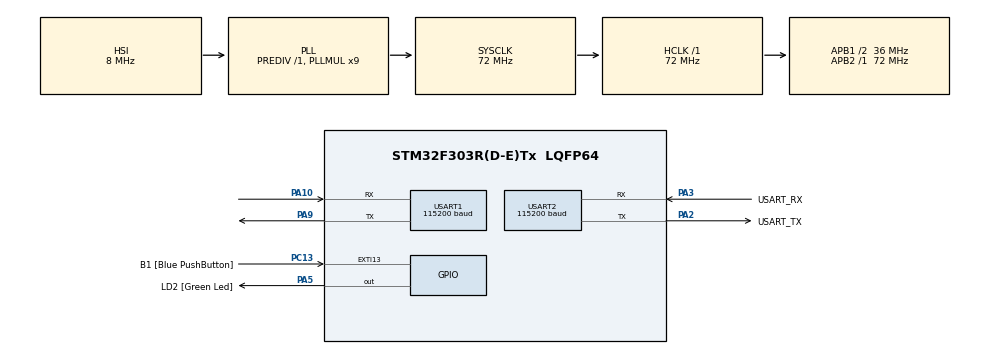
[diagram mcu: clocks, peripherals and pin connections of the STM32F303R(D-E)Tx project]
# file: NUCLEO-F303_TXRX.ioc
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Mcu.Family=STM32F3
Mcu.Name=STM32F303R(D-E)Tx
Mcu.Package=LQFP64
NVIC.PriorityGroup=NVIC_PRIORITYGROUP_0
NVIC.USART1_IRQn=true\:0\:0\:false\:false\:true\:true\:true\:true
PA10.Mode=Asynchronous
PA10.Signal=USART1_RX
PA13.GPIO_Label=TMS
PA13.Mode=Serial_Wire
PA13.Signal=SYS_JTMS-SWDIO
PA14.GPIO_Label=TCK
PA14.Mode=Serial_Wire
PA14.Signal=SYS_JTCK-SWCLK
PA2.GPIO_Label=USART_TX
PA2.GPIO_Mode=GPIO_MODE_AF_PP
PA2.GPIO_PuPd=GPIO_NOPULL
PA2.GPIO_Speed=GPIO_SPEED_FREQ_LOW
PA2.Mode=Asynchronous
PA2.Signal=USART2_TX
PA3.GPIO_Label=USART_RX
PA3.GPIO_Mode=GPIO_MODE_AF_PP
PA3.GPIO_PuPd=GPIO_NOPULL
PA3.GPIO_Speed=GPIO_SPEED_FREQ_LOW
PA3.Mode=Asynchronous
PA3.Signal=USART2_RX
PA5.GPIO_Label=LD2 [Green Led]
PA5.GPIO_Mode=GPIO_MODE_OUTPUT_PP
PA5.GPIO_PuPd=GPIO_NOPULL
PA5.GPIO_Speed=GPIO_SPEED_FREQ_LOW
PA5.Signal=GPIO_Output
PA9.Mode=Asynchronous
PA9.Signal=USART1_TX
PB3.GPIO_Label=SWO
PB3.Signal=SYS_JTDO-TRACESWO
PC13.GPIO_Label=B1 [Blue PushButton]
PC13.GPIO_ModeDefaultEXTI=GPIO_MODE_IT_FALLING
PC13.Signal=GPXTI13
PC14-OSC32_IN.Mode=LSE-External-Oscillator
PC14-OSC32_IN.Signal=RCC_OSC32_IN
PC15-OSC32_OUT.Mode=LSE-External-Oscillator
PC15-OSC32_OUT.Signal=RCC_OSC32_OUT
PF0-OSC_IN.Mode=HSE-External-Clock-Source
PF0-OSC_IN.Signal=RCC_OSC_IN
PF1-OSC_OUT.Signal=RCC_OSC_OUT
ProjectManager.HeapSize=0x200
ProjectManager.StackSize=0x400
ProjectManager.TargetToolchain=CMake
RCC.AHBFreq_Value=72000000
RCC.APB1CLKDivider=RCC_HCLK_DIV2
RCC.APB1Freq_Value=36000000
RCC.APB1TimFreq_Value=72000000
RCC.APB2Freq_Value=72000000
RCC.APB2TimFreq_Value=72000000
RCC.CortexFreq_Value=72000000
RCC.HCLKFreq_Value=72000000
RCC.HSE_VALUE=8000000
RCC.HSI_VALUE=8000000
RCC.PLLM=8
RCC.PLLMUL=RCC_PLL_MUL9
RCC.PLLN=336
RCC.PLLP=RCC_PLLP_DIV4
RCC.PLLQ=7
RCC.RCC_PLLsource_Clock_Source_FROM_HSE=RCC_HSE_PREDIV_DIV2
RCC.SYSCLKFreq_VALUE=72000000
RCC.SYSCLKSourceVirtual=RCC_SYSCLKSOURCE_PLLCLK
RCC.USBFreq_Value=72000000
USART1.BaudRate=115200
USART1.VirtualMode-Asynchronous=VM_ASYNC
USART2.BaudRate=115200
USART2.VirtualMode-Asynchronous=VM_ASYNC
board=NUCLEO-F303RE

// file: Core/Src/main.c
/* USER CODE BEGIN Header */
/**
  ******************************************************************************
  * @file           : main.c
  * @brief          : Main program body
  ******************************************************************************
  * @attention
  *
  * Copyright (c) 2026 STMicroelectronics.
  * All rights reserved.
  *
  * This software is licensed under terms that can be found in the LICENSE file
  * in the root directory of this software component.
  * If no LICENSE file comes with this software, it is provided AS-IS.
  *
  ******************************************************************************
  */
/* USER CODE END Header */
#include "main.h"

/* USER CODE BEGIN Includes */
#include <string.h>
#include <stdio.h>
/* USER CODE END Includes */

/* USER CODE BEGIN PD */
#define RX_BUFFER_SIZE 128
/* USER CODE END PD */

UART_HandleTypeDef huart1;
UART_HandleTypeDef huart2;

/* USER CODE BEGIN PV */
char rx_buffer[RX_BUFFER_SIZE]; // I accumulate the characters for reception here
uint8_t rx_index = 0; // I am goin gto receive a byte per interrupt
uint8_t rx_data;
volatile _Bool msg_ready = 0;
volatile _Bool tx_busy = 0;
/* USER CODE END PV */

void SystemClock_Config(void);
static void MX_GPIO_Init(void);
static void MX_USART1_UART_Init(void);
static void MX_USART2_UART_Init(void);
/* USER CODE BEGIN PFP */
void UART_Communication(void);
/* USER CODE END PFP */

int main(void)
{

  /* MCU Configuration--------------------------------------------------------*/

  /* Reset of all peripherals, Initializes the Flash interface and the Systick. */
  HAL_Init();

  /* Configure the system clock */
  SystemClock_Config();

  /* Initialize all configured peripherals */
  MX_GPIO_Init();
  MX_USART1_UART_Init();
  MX_USART2_UART_Init();
  /* USER CODE BEGIN 2 */
  HAL_UART_Receive_IT(&huart1, &rx_data, 1);
  /* USER CODE END 2 */

  /* Infinite loop */
  /* USER CODE BEGIN WHILE */
  while (1)
  {
    UART_Communication();
    /* USER CODE END WHILE */

  }
}

void SystemClock_Config(void)
{
  RCC_OscInitTypeDef RCC_OscInitStruct = {0};
  RCC_ClkInitTypeDef RCC_ClkInitStruct = {0};
  RCC_PeriphCLKInitTypeDef PeriphClkInit = {0};

  /** Initializes the RCC Oscillators according to the specified parameters
  * in the RCC_OscInitTypeDef structure.
  */
  RCC_OscInitStruct.OscillatorType = RCC_OSCILLATORTYPE_HSI;
  RCC_OscInitStruct.HSIState = RCC_HSI_ON;
  RCC_OscInitStruct.HSICalibrationValue = RCC_HSICALIBRATION_DEFAULT;
  RCC_OscInitStruct.PLL.PLLState = RCC_PLL_ON;
  RCC_OscInitStruct.PLL.PLLSource = RCC_PLLSOURCE_HSI;
  RCC_OscInitStruct.PLL.PLLMUL = RCC_PLL_MUL9;
  RCC_OscInitStruct.PLL.PREDIV = RCC_PREDIV_DIV1;
  if (HAL_RCC_OscConfig(&RCC_OscInitStruct) != HAL_OK)
  {
    Error_Handler();
  }

  /** Initializes the CPU, AHB and APB buses clocks
  */
  RCC_ClkInitStruct.ClockType = RCC_CLOCKTYPE_HCLK|RCC_CLOCKTYPE_SYSCLK
                              |RCC_CLOCKTYPE_PCLK1|RCC_CLOCKTYPE_PCLK2;
  RCC_ClkInitStruct.SYSCLKSource = RCC_SYSCLKSOURCE_PLLCLK;
  RCC_ClkInitStruct.AHBCLKDivider = RCC_SYSCLK_DIV1;
  RCC_ClkInitStruct.APB1CLKDivider = RCC_HCLK_DIV2;
  RCC_ClkInitStruct.APB2CLKDivider = RCC_HCLK_DIV1;

  if (HAL_RCC_ClockConfig(&RCC_ClkInitStruct, FLASH_LATENCY_2) != HAL_OK)
  {
    Error_Handler();
  }
  PeriphClkInit.PeriphClockSelection = RCC_PERIPHCLK_USART1|RCC_PERIPHCLK_USART2;
  PeriphClkInit.Usart1ClockSelection = RCC_USART1CLKSOURCE_PCLK2;
  PeriphClkInit.Usart2ClockSelection = RCC_USART2CLKSOURCE_PCLK1;
  if (HAL_RCCEx_PeriphCLKConfig(&PeriphClkInit) != HAL_OK)
  {
    Error_Handler();
  }
}

static void MX_USART1_UART_Init(void)
{

  huart1.Instance = USART1;
  huart1.Init.BaudRate = 115200;
  huart1.Init.WordLength = UART_WORDLENGTH_8B;
  huart1.Init.StopBits = UART_STOPBITS_1;
  huart1.Init.Parity = UART_PARITY_NONE;
  huart1.Init.Mode = UART_MODE_TX_RX;
  huart1.Init.HwFlowCtl = UART_HWCONTROL_NONE;
  huart1.Init.OverSampling = UART_OVERSAMPLING_16;
  huart1.Init.OneBitSampling = UART_ONE_BIT_SAMPLE_DISABLE;
  huart1.AdvancedInit.AdvFeatureInit = UART_ADVFEATURE_NO_INIT;
  if (HAL_UART_Init(&huart1) != HAL_OK)
  {
    Error_Handler();
  }

}

static void MX_USART2_UART_Init(void)
{

  huart2.Instance = USART2;
  huart2.Init.BaudRate = 115200;
  huart2.Init.WordLength = UART_WORDLENGTH_8B;
  huart2.Init.StopBits = UART_STOPBITS_1;
  huart2.Init.Parity = UART_PARITY_NONE;
  huart2.Init.Mode = UART_MODE_TX_RX;
  huart2.Init.HwFlowCtl = UART_HWCONTROL_NONE;
  huart2.Init.OverSampling = UART_OVERSAMPLING_16;
  huart2.Init.OneBitSampling = UART_ONE_BIT_SAMPLE_DISABLE;
  huart2.AdvancedInit.AdvFeatureInit = UART_ADVFEATURE_NO_INIT;
  if (HAL_UART_Init(&huart2) != HAL_OK)
  {
    Error_Handler();
  }

}

static void MX_GPIO_Init(void)
{
  GPIO_InitTypeDef GPIO_InitStruct = {0};

  /* GPIO Ports Clock Enable */
  __HAL_RCC_GPIOC_CLK_ENABLE();
  __HAL_RCC_GPIOF_CLK_ENABLE();
  __HAL_RCC_GPIOA_CLK_ENABLE();
  __HAL_RCC_GPIOB_CLK_ENABLE();

  /*Configure GPIO pin Output Level */
  HAL_GPIO_WritePin(LD2_GPIO_Port, LD2_Pin, GPIO_PIN_RESET);

  /*Configure GPIO pin : B1_Pin */
  GPIO_InitStruct.Pin = B1_Pin;
  GPIO_InitStruct.Mode = GPIO_MODE_IT_FALLING;
  GPIO_InitStruct.Pull = GPIO_NOPULL;
  HAL_GPIO_Init(B1_GPIO_Port, &GPIO_InitStruct);

  /*Configure GPIO pin : LD2_Pin */
  GPIO_InitStruct.Pin = LD2_Pin;
  GPIO_InitStruct.Mode = GPIO_MODE_OUTPUT_PP;
  GPIO_InitStruct.Pull = GPIO_NOPULL;
  GPIO_InitStruct.Speed = GPIO_SPEED_FREQ_LOW;
  HAL_GPIO_Init(LD2_GPIO_Port, &GPIO_InitStruct);

}

/* USER CODE BEGIN 4 */
void UART_Communication(void)
{
  if (msg_ready && !tx_busy)
  {
    char console_buffer[256];

    snprintf(console_buffer, sizeof(console_buffer), "Received: \"%s\"\r\n", rx_buffer);
    HAL_UART_Transmit(&huart2, (uint8_t*)console_buffer, strlen(console_buffer), HAL_MAX_DELAY);

    snprintf(console_buffer, sizeof(console_buffer), "Sent: \"%s\"\r\n", rx_buffer);
    HAL_UART_Transmit(&huart2, (uint8_t*)console_buffer, strlen(console_buffer), HAL_MAX_DELAY);

    strcat(rx_buffer, "\r\n");

    tx_busy = 1;

    HAL_UART_Transmit_IT(&huart1, (uint8_t*)rx_buffer, strlen(rx_buffer));
  }
}

void HAL_UART_RxCpltCallback(UART_HandleTypeDef *huart)
{
  if (huart->Instance == USART1)
  {
    if (rx_index < RX_BUFFER_SIZE - 1 && !msg_ready)
    {
      if (rx_data == '\n' || rx_data == '\r')
      {
        if (rx_index > 0)
        {
          rx_buffer[rx_index] = '\0';
          msg_ready = 1;
        }
      }
      else
      {
        rx_buffer[rx_index] = rx_data;
        rx_index++;
      }
    }
    HAL_UART_Receive_IT(&huart1, &rx_data, 1);
  }
}

void HAL_UART_TxCpltCallback(UART_HandleTypeDef *huart)
{
  if (huart->Instance == USART1)
  {
    memset(rx_buffer, 0, RX_BUFFER_SIZE);
    rx_index = 0;

    msg_ready = 0;
    tx_busy = 0;
  }
}
/* USER CODE END 4 */

void Error_Handler(void)
{
  __disable_irq();
  while (1)
  {
  }
}
